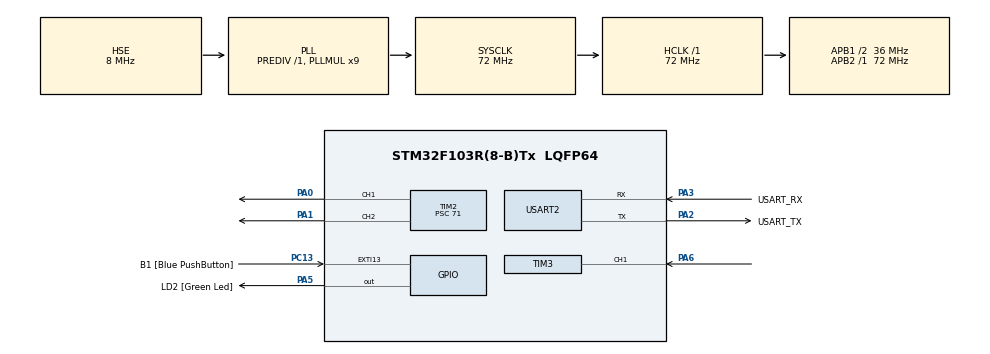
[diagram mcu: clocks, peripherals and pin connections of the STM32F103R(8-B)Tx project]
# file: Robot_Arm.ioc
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Mcu.Family=STM32F1
Mcu.Name=STM32F103R(8-B)Tx
Mcu.Package=LQFP64
NVIC.EXTI15_10_IRQn=true\:0\:0\:false\:false\:true\:true\:true\:true
NVIC.PriorityGroup=NVIC_PRIORITYGROUP_4
NVIC.TIM3_IRQn=true\:0\:0\:false\:false\:true\:true\:true\:true
PA0-WKUP.Signal=S_TIM2_CH1_ETR
PA1.Signal=S_TIM2_CH2
PA13.GPIO_Label=TMS
PA13.Mode=Serial_Wire
PA13.Signal=SYS_JTMS-SWDIO
PA14.GPIO_Label=TCK
PA14.Mode=Serial_Wire
PA14.Signal=SYS_JTCK-SWCLK
PA2.GPIO_Label=USART_TX
PA2.GPIO_Mode=GPIO_MODE_AF_PP
PA2.GPIO_PuPd=GPIO_NOPULL
PA2.GPIO_Speed=GPIO_SPEED_FREQ_LOW
PA2.Mode=Asynchronous
PA2.Signal=USART2_TX
PA3.GPIO_Label=USART_RX
PA3.GPIO_Mode=GPIO_MODE_AF_PP
PA3.GPIO_PuPd=GPIO_NOPULL
PA3.GPIO_Speed=GPIO_SPEED_FREQ_LOW
PA3.Mode=Asynchronous
PA3.Signal=USART2_RX
PA5.GPIO_Label=LD2 [Green Led]
PA5.GPIO_ModeDefaultOutputPP=GPIO_MODE_OUTPUT_PP
PA5.GPIO_PuPd=GPIO_NOPULL
PA5.GPIO_Speed=GPIO_SPEED_FREQ_LOW
PA5.Signal=GPIO_Output
PA6.Signal=S_TIM3_CH1
PB3.GPIO_Label=SWO
PB3.Signal=SYS_JTDO-TRACESWO
PC13-TAMPER-RTC.GPIO_Label=B1 [Blue PushButton]
PC13-TAMPER-RTC.GPIO_PuPd=GPIO_NOPULL
PC13-TAMPER-RTC.Signal=GPXTI13
PC14-OSC32_IN.Mode=LSE-External-Oscillator
PC14-OSC32_IN.Signal=RCC_OSC32_IN
PC15-OSC32_OUT.Mode=LSE-External-Oscillator
PC15-OSC32_OUT.Signal=RCC_OSC32_OUT
PD0-OSC_IN.Mode=HSE-External-Clock-Source
PD0-OSC_IN.Signal=RCC_OSC_IN
PD1-OSC_OUT.Mode=HSE-External-Clock-Source
PD1-OSC_OUT.Signal=RCC_OSC_OUT
ProjectManager.HeapSize=0x200
ProjectManager.StackSize=0x400
ProjectManager.TargetToolchain=STM32CubeIDE
RCC.AHBFreq_Value=72000000
RCC.APB1CLKDivider=RCC_HCLK_DIV2
RCC.APB1Freq_Value=36000000
RCC.APB1TimFreq_Value=72000000
RCC.APB2Freq_Value=72000000
RCC.APB2TimFreq_Value=72000000
RCC.HCLKFreq_Value=72000000
RCC.PLLMUL=RCC_PLL_MUL9
RCC.PLLSourceVirtual=RCC_PLLSOURCE_HSE
RCC.RTCClockSelection=RCC_RTCCLKSOURCE_LSE
RCC.SYSCLKFreq_VALUE=72000000
RCC.SYSCLKSource=RCC_SYSCLKSOURCE_PLLCLK
RCC.USBFreq_Value=72000000
SH.S_TIM2_CH1_ETR.0=TIM2_CH1,PWM Generation1 CH1
SH.S_TIM2_CH2.0=TIM2_CH2,PWM Generation2 CH2
SH.S_TIM3_CH1.0=TIM3_CH1,Input_Capture1_from_TI1
SH.S_TIM3_CH1.1=TIM3_CH1,TriggerSource_TI1FP1
TIM2.Channel-PWM\ Generation1\ CH1=TIM_CHANNEL_1
TIM2.Channel-PWM\ Generation2\ CH2=TIM_CHANNEL_2
TIM2.Period=19999
TIM2.Prescaler=71
TIM2.Pulse-PWM\ Generation1\ CH1=1500
TIM2.Pulse-PWM\ Generation2\ CH2=1500
TIM3.Channel-Input_Capture1_from_TI1=TIM_CHANNEL_1
TIM3.Channel-Input_Capture2_from_TI1_63=TIM_CHANNEL_2
TIM3.ICPolarity_CH1=TIM_INPUTCHANNELPOLARITY_FALLING
TIM3.Prescaler=71
USART2.VirtualMode=VM_ASYNC
VP_TIM2_VS_ClockSourceINT.Mode=Internal
VP_TIM3_VS_ClockSourceINT.Mode=Internal
VP_TIM3_VS_ControllerModeReset.Mode=Reset Mode
VP_TIM3_VS_indirect_ch1.Mode=Input_Capture2_from_TI1_63
board=NUCLEO-F103RB

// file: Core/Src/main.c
/* USER CODE BEGIN Header */
/**
  ******************************************************************************
  * @file           : main.c
  * @brief          : Main program body
  ******************************************************************************
  * @attention
  *
  * Copyright (c) 2026 STMicroelectronics.
  * All rights reserved.
  *
  * This software is licensed under terms that can be found in the LICENSE file
  * in the root directory of this software component.
  * If no LICENSE file comes with this software, it is provided AS-IS.
  *
  ******************************************************************************
  */
/* USER CODE END Header */
#include "main.h"

/* USER CODE BEGIN Includes */
#include <stdio.h>
#include "ir_remote.h"
#include "servo_motor.h"
/* USER CODE END Includes */

/* USER CODE BEGIN PTD */
char tx_buffer[50];

uint8_t remote_key;
volatile uint8_t remote_done_flag = 0;

uint32_t ir_val;
/* USER CODE END PTD */

TIM_HandleTypeDef htim2;
TIM_HandleTypeDef htim3;

UART_HandleTypeDef huart2;

void SystemClock_Config(void);
static void MX_GPIO_Init(void);
static void MX_TIM2_Init(void);
static void MX_USART2_UART_Init(void);
static void MX_TIM3_Init(void);
/* USER CODE BEGIN PFP */
void HAL_TIM_IC_CaptureCallback(TIM_HandleTypeDef *htim){

	if (htim->Instance == TIM3)
	    {
	        IR_Handle_Interrupt(htim, &huart2);
	    }
}
/* USER CODE END PFP */

int main(void)
{

  /* MCU Configuration--------------------------------------------------------*/

  /* Reset of all peripherals, Initializes the Flash interface and the Systick. */
  HAL_Init();

  /* Configure the system clock */
  SystemClock_Config();

  /* Initialize all configured peripherals */
  MX_GPIO_Init();
  MX_TIM2_Init();
  MX_USART2_UART_Init();
  MX_TIM3_Init();
  /* USER CODE BEGIN 2 */
  HAL_TIM_PWM_Start(&htim2, TIM_CHANNEL_1);
  HAL_TIM_PWM_Start(&htim2, TIM_CHANNEL_2);
  HAL_TIM_IC_Start_IT(&htim3, TIM_CHANNEL_1);
  HAL_TIM_IC_Start_IT(&htim3, TIM_CHANNEL_2);

  float s1_angle = SET_CENTER;
  float s2_angle = SET_ZERO;
  uint32_t active_channel = TIM_CHANNEL_1;

  Servo_Set_Angle(&htim2, TIM_CHANNEL_1, s1_angle);
  Servo_Set_Angle(&htim2, TIM_CHANNEL_2, s2_angle);

  uint32_t debug_counter = 0;	// set tera term
  /* USER CODE END 2 */

  /* Infinite loop */
  /* USER CODE BEGIN WHILE */

  while (1)
  {
	  if(remote_done_flag == 1)
	  {
		  int len;
		  // 디코딩된 원본 키값 출력
		  len = sprintf(tx_buffer, "\r\n[IR Key]: 0x%02X\r\n", remote_key);
		  HAL_UART_Transmit(&huart2, (uint8_t *)tx_buffer, len, 100);

		  switch(remote_key)
		  {
		  	  case IR_KEY_LEFT:
		  		  active_channel = TIM_CHANNEL_1;
		  		  len = sprintf(tx_buffer, ">> Selected: SERVO 1 (CH1)\r\n");
		  		  HAL_UART_Transmit(&huart2, (uint8_t *)tx_buffer, len, 100);
		  		  break;
		  	  case IR_KEY_RIGHT:
		  		  active_channel = TIM_CHANNEL_2;
		  		  len = sprintf(tx_buffer, ">> Selected: SERVO 2 (CH2)\r\n");
		  		  HAL_UART_Transmit(&huart2, (uint8_t *)tx_buffer, len, 100);
		  		  break;
		  	  case IR_KEY_UP:
		  		  if(active_channel == TIM_CHANNEL_1) {
		  			  s1_angle += 10.0f;
		  			  if(s1_angle > SET_LIMIT) s1_angle = SET_LIMIT;
		  			  Servo_Set_Angle(&htim2, TIM_CHANNEL_1, s1_angle);
		  			  len = sprintf(tx_buffer, ">> SERVO 1 Angle: %d\r\n", (int)s1_angle);
		  		  } else {
		  			  s2_angle += 10.0f;
		  			  if(s2_angle > SET_LIMIT) s2_angle = SET_LIMIT;
		  			  Servo_Set_Angle(&htim2, TIM_CHANNEL_2, s2_angle);
		  			  len = sprintf(tx_buffer, ">> SERVO 2 Angle: %d\r\n", (int)s2_angle);
		  		  }
		  		  HAL_UART_Transmit(&huart2, (uint8_t *)tx_buffer, len, 100);
		  		  break;
		  	  case IR_KEY_DOWN:
		  		  if(active_channel == TIM_CHANNEL_1) {
		  			  s1_angle -= 10.0f;
		  			  if(s1_angle < SET_ZERO) s1_angle = SET_ZERO;
		  			  Servo_Set_Angle(&htim2, TIM_CHANNEL_1, s1_angle);
		  			  len = sprintf(tx_buffer, ">> SERVO 1 Angle: %d\r\n", (int)s1_angle);
		  		  } else {
		  			  s2_angle -= 10.0f;
		  			  if(s2_angle < SET_ZERO) s2_angle = SET_ZERO;
		  			  Servo_Set_Angle(&htim2, TIM_CHANNEL_2, s2_angle);
		  			  len = sprintf(tx_buffer, ">> SERVO 2 Angle: %d\r\n", (int)s2_angle);
		  		  }
		  		  HAL_UART_Transmit(&huart2, (uint8_t *)tx_buffer, len, 100);
		  		  break;
		  	  default:
		  		  len = sprintf(tx_buffer, ">> COMMAND: UNKNOWN KEY (0x%02X) <<\r\n", remote_key);
		  		  HAL_UART_Transmit(&huart2, (uint8_t *)tx_buffer, len, 100);
		  		  break;
		  }
		  remote_done_flag = 0;
	  }
    /* USER CODE END WHILE */

  }
}

void SystemClock_Config(void)
{
  RCC_OscInitTypeDef RCC_OscInitStruct = {0};
  RCC_ClkInitTypeDef RCC_ClkInitStruct = {0};

  /** Initializes the RCC Oscillators according to the specified parameters
  * in the RCC_OscInitTypeDef structure.
  */
  RCC_OscInitStruct.OscillatorType = RCC_OSCILLATORTYPE_HSE;
  RCC_OscInitStruct.HSEState = RCC_HSE_BYPASS;
  RCC_OscInitStruct.HSEPredivValue = RCC_HSE_PREDIV_DIV1;
  RCC_OscInitStruct.HSIState = RCC_HSI_ON;
  RCC_OscInitStruct.PLL.PLLState = RCC_PLL_ON;
  RCC_OscInitStruct.PLL.PLLSource = RCC_PLLSOURCE_HSE;
  RCC_OscInitStruct.PLL.PLLMUL = RCC_PLL_MUL9;
  if (HAL_RCC_OscConfig(&RCC_OscInitStruct) != HAL_OK)
  {
    Error_Handler();
  }

  /** Initializes the CPU, AHB and APB buses clocks
  */
  RCC_ClkInitStruct.ClockType = RCC_CLOCKTYPE_HCLK|RCC_CLOCKTYPE_SYSCLK
                              |RCC_CLOCKTYPE_PCLK1|RCC_CLOCKTYPE_PCLK2;
  RCC_ClkInitStruct.SYSCLKSource = RCC_SYSCLKSOURCE_PLLCLK;
  RCC_ClkInitStruct.AHBCLKDivider = RCC_SYSCLK_DIV1;
  RCC_ClkInitStruct.APB1CLKDivider = RCC_HCLK_DIV2;
  RCC_ClkInitStruct.APB2CLKDivider = RCC_HCLK_DIV1;

  if (HAL_RCC_ClockConfig(&RCC_ClkInitStruct, FLASH_LATENCY_2) != HAL_OK)
  {
    Error_Handler();
  }
}

static void MX_TIM2_Init(void)
{

  TIM_ClockConfigTypeDef sClockSourceConfig = {0};
  TIM_MasterConfigTypeDef sMasterConfig = {0};
  TIM_OC_InitTypeDef sConfigOC = {0};

  htim2.Instance = TIM2;
  htim2.Init.Prescaler = 71;
  htim2.Init.CounterMode = TIM_COUNTERMODE_UP;
  htim2.Init.Period = 19999;
  htim2.Init.ClockDivision = TIM_CLOCKDIVISION_DIV1;
  htim2.Init.AutoReloadPreload = TIM_AUTORELOAD_PRELOAD_DISABLE;
  if (HAL_TIM_Base_Init(&htim2) != HAL_OK)
  {
    Error_Handler();
  }
  sClockSourceConfig.ClockSource = TIM_CLOCKSOURCE_INTERNAL;
  if (HAL_TIM_ConfigClockSource(&htim2, &sClockSourceConfig) != HAL_OK)
  {
    Error_Handler();
  }
  if (HAL_TIM_PWM_Init(&htim2) != HAL_OK)
  {
    Error_Handler();
  }
  sMasterConfig.MasterOutputTrigger = TIM_TRGO_RESET;
  sMasterConfig.MasterSlaveMode = TIM_MASTERSLAVEMODE_DISABLE;
  if (HAL_TIMEx_MasterConfigSynchronization(&htim2, &sMasterConfig) != HAL_OK)
  {
    Error_Handler();
  }
  sConfigOC.OCMode = TIM_OCMODE_PWM1;
  sConfigOC.Pulse = 1500;
  sConfigOC.OCPolarity = TIM_OCPOLARITY_HIGH;
  sConfigOC.OCFastMode = TIM_OCFAST_DISABLE;
  if (HAL_TIM_PWM_ConfigChannel(&htim2, &sConfigOC, TIM_CHANNEL_1) != HAL_OK)
  {
    Error_Handler();
  }
  if (HAL_TIM_PWM_ConfigChannel(&htim2, &sConfigOC, TIM_CHANNEL_2) != HAL_OK)
  {
    Error_Handler();
  }
  HAL_TIM_MspPostInit(&htim2);

}

static void MX_TIM3_Init(void)
{

  TIM_ClockConfigTypeDef sClockSourceConfig = {0};
  TIM_SlaveConfigTypeDef sSlaveConfig = {0};
  TIM_MasterConfigTypeDef sMasterConfig = {0};
  TIM_IC_InitTypeDef sConfigIC = {0};

  htim3.Instance = TIM3;
  htim3.Init.Prescaler = 71;
  htim3.Init.CounterMode = TIM_COUNTERMODE_UP;
  htim3.Init.Period = 65535;
  htim3.Init.ClockDivision = TIM_CLOCKDIVISION_DIV1;
  htim3.Init.AutoReloadPreload = TIM_AUTORELOAD_PRELOAD_DISABLE;
  if (HAL_TIM_Base_Init(&htim3) != HAL_OK)
  {
    Error_Handler();
  }
  sClockSourceConfig.ClockSource = TIM_CLOCKSOURCE_INTERNAL;
  if (HAL_TIM_ConfigClockSource(&htim3, &sClockSourceConfig) != HAL_OK)
  {
    Error_Handler();
  }
  if (HAL_TIM_IC_Init(&htim3) != HAL_OK)
  {
    Error_Handler();
  }
  sSlaveConfig.SlaveMode = TIM_SLAVEMODE_RESET;
  sSlaveConfig.InputTrigger = TIM_TS_TI1FP1;
  sSlaveConfig.TriggerPolarity = TIM_INPUTCHANNELPOLARITY_FALLING;
  sSlaveConfig.TriggerFilter = 0;
  if (HAL_TIM_SlaveConfigSynchro(&htim3, &sSlaveConfig) != HAL_OK)
  {
    Error_Handler();
  }
  sMasterConfig.MasterOutputTrigger = TIM_TRGO_RESET;
  sMasterConfig.MasterSlaveMode = TIM_MASTERSLAVEMODE_DISABLE;
  if (HAL_TIMEx_MasterConfigSynchronization(&htim3, &sMasterConfig) != HAL_OK)
  {
    Error_Handler();
  }
  sConfigIC.ICPolarity = TIM_INPUTCHANNELPOLARITY_FALLING;
  sConfigIC.ICSelection = TIM_ICSELECTION_DIRECTTI;
  sConfigIC.ICPrescaler = TIM_ICPSC_DIV1;
  sConfigIC.ICFilter = 0;
  if (HAL_TIM_IC_ConfigChannel(&htim3, &sConfigIC, TIM_CHANNEL_1) != HAL_OK)
  {
    Error_Handler();
  }
  sConfigIC.ICPolarity = TIM_INPUTCHANNELPOLARITY_RISING;
  sConfigIC.ICSelection = TIM_ICSELECTION_INDIRECTTI;
  if (HAL_TIM_IC_ConfigChannel(&htim3, &sConfigIC, TIM_CHANNEL_2) != HAL_OK)
  {
    Error_Handler();
  }

}

static void MX_USART2_UART_Init(void)
{

  huart2.Instance = USART2;
  huart2.Init.BaudRate = 115200;
  huart2.Init.WordLength = UART_WORDLENGTH_8B;
  huart2.Init.StopBits = UART_STOPBITS_1;
  huart2.Init.Parity = UART_PARITY_NONE;
  huart2.Init.Mode = UART_MODE_TX_RX;
  huart2.Init.HwFlowCtl = UART_HWCONTROL_NONE;
  huart2.Init.OverSampling = UART_OVERSAMPLING_16;
  if (HAL_UART_Init(&huart2) != HAL_OK)
  {
    Error_Handler();
  }

}

static void MX_GPIO_Init(void)
{
  GPIO_InitTypeDef GPIO_InitStruct = {0};

  /* GPIO Ports Clock Enable */
  __HAL_RCC_GPIOC_CLK_ENABLE();
  __HAL_RCC_GPIOD_CLK_ENABLE();
  __HAL_RCC_GPIOA_CLK_ENABLE();
  __HAL_RCC_GPIOB_CLK_ENABLE();

  /*Configure GPIO pin Output Level */
  HAL_GPIO_WritePin(LD2_GPIO_Port, LD2_Pin, GPIO_PIN_RESET);

  /*Configure GPIO pin : B1_Pin */
  GPIO_InitStruct.Pin = B1_Pin;
  GPIO_InitStruct.Mode = GPIO_MODE_IT_RISING;
  GPIO_InitStruct.Pull = GPIO_NOPULL;
  HAL_GPIO_Init(B1_GPIO_Port, &GPIO_InitStruct);

  /*Configure GPIO pin : LD2_Pin */
  GPIO_InitStruct.Pin = LD2_Pin;
  GPIO_InitStruct.Mode = GPIO_MODE_OUTPUT_PP;
  GPIO_InitStruct.Pull = GPIO_NOPULL;
  GPIO_InitStruct.Speed = GPIO_SPEED_FREQ_LOW;
  HAL_GPIO_Init(LD2_GPIO_Port, &GPIO_InitStruct);

  /* EXTI interrupt init*/
  HAL_NVIC_SetPriority(EXTI15_10_IRQn, 0, 0);
  HAL_NVIC_EnableIRQ(EXTI15_10_IRQn);

}

void Error_Handler(void)
{
  __disable_irq();
  while (1)
  {
  }
}
